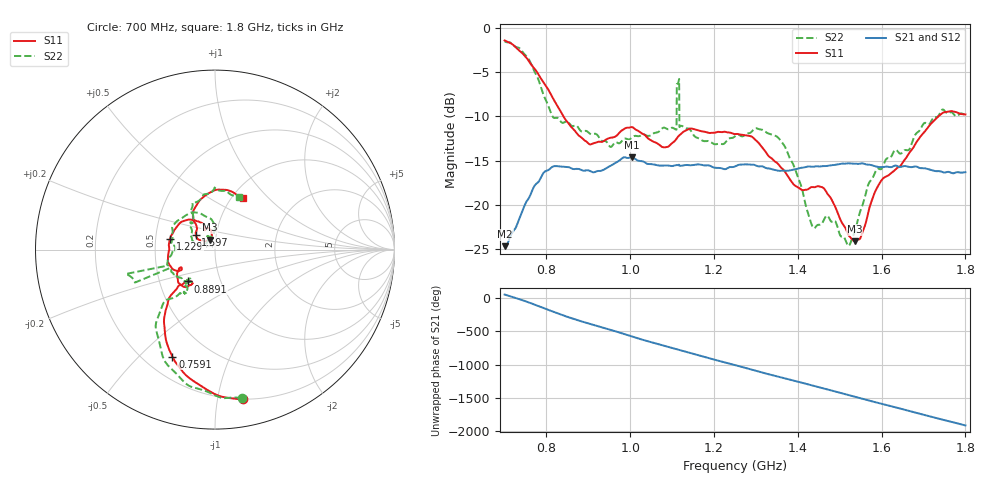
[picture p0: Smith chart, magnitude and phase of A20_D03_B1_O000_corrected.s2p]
! Created with skrf 1.9.0 (http://scikit-rf.org).
# Hz S RI R 50.0
!freq ReS11 ImS11 ReS21 ImS21 ReS12 ImS12 ReS22 ImS22
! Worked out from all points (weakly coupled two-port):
!   1601 points, 700 MHz to 1.8 GHz, reference 50 ohm
!   highest |S21| = -14.61 dB at 1.003 GHz (marker M1); lowest = -24.7 dB at 701.4 MHz (marker M2)
!   lowest |S11| = -24.1 dB at 1.536 GHz (marker M3), VSWR 1.13, Z = 47 + j5.23 ohm
!   |S11| at or under -10 dB: 840.3 MHz to 1.735 GHz (895.1 MHz wide, 69.5 % of centre)
!   |S22| runs from -24.6 to -1.5 dB; largest |S21 - S12| = 0.0035
!   S11 on the Smith chart (normalised r, x): 700 MHz: 0.20, -1.19; 759.1 MHz: 0.31, -0.63; 889.1 MHz: 0.70, -0.26; 1.229 GHz: 0.60, +0.08; 1.597 GHz: 0.80, +0.13; 1.8 GHz: 1.12, +0.72
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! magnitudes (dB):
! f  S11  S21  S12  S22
! 700 MHz  -1.4  -24.7  -24.4  -1.5
! 701.4 MHz  -1.5  -24.7  -24.3  -1.6
! 759.1 MHz  -3.9  -19.1  -19.0  -3.6
! 814.8 MHz  -7.9  -15.7  -15.7  -10.0
! 883.6 MHz  -12.4  -16.1  -16.0  -11.7
! 889.1 MHz  -12.6  -16.1  -16.1  -11.7
! 1.003 GHz  -11.2  -14.6  -14.7  -12.4
! 1.067 GHz  -13.1  -15.5  -15.5  -11.8
! 1.105 GHz  -12.8  -15.6  -15.5  -11.4
! 1.117 GHz  -12.2  -15.5  -15.4  -5.8
! 1.123 GHz  -11.9  -15.6  -15.5  -11.1
! 1.229 GHz  -11.8  -15.9  -15.8  -12.8
! 1.25 GHz  -12.0  -15.7  -15.6  -12.3
! 1.356 GHz  -15.5  -16.1  -16.1  -12.6
! 1.434 GHz  -18.0  -15.7  -15.7  -22.3
! 1.471 GHz  -18.8  -15.6  -15.6  -21.3
! 1.521 GHz  -23.4  -15.3  -15.3  -24.6
! 1.536 GHz  -24.1  -15.3  -15.4  -23.0
! 1.597 GHz  -17.5  -15.7  -15.7  -16.0
! 1.617 GHz  -16.6  -15.7  -15.7  -14.7
! 1.741 GHz  -9.8  -16.2  -16.2  -9.5
! 1.8 GHz  -9.8  -16.3  -16.3  -9.9
